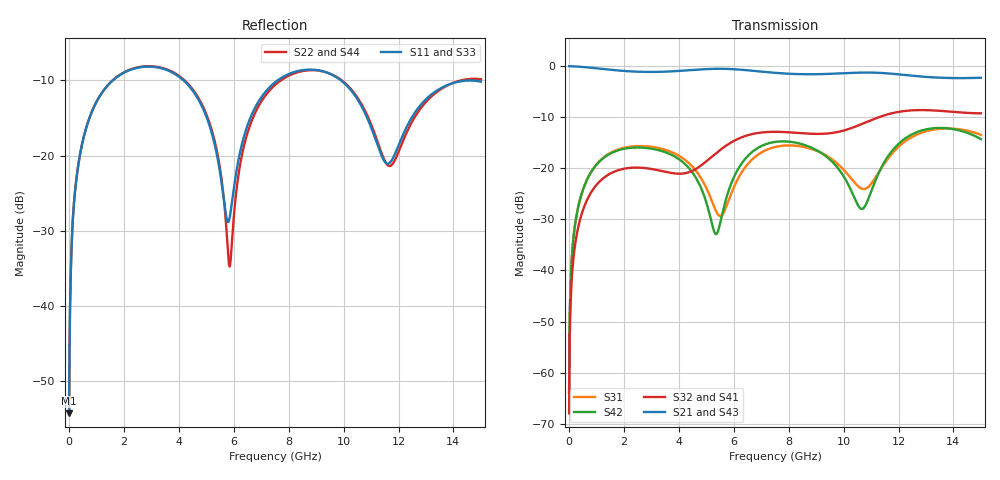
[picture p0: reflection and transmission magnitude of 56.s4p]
! Created with skrf 1.8.0 (http://scikit-rf.org).
# GHz S RI R 50.0
!freq ReS11 ImS11 ReS12 ImS12 ReS13 ImS13
! ReS14 ImS14
! ReS21 ImS21 ReS22 ImS22 ReS23 ImS23
! ReS24 ImS24
! ReS31 ImS31 ReS32 ImS32 ReS33 ImS33
! ReS34 ImS34
! ReS41 ImS41 ReS42 ImS42 ReS43 ImS43
! ReS44 ImS44
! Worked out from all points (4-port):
!   2499 points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, 5 MHz to 15 GHz, reference 50 ohm
!   strongest paths, dB at 5 MHz, 3.476 GHz, 7.19 GHz, 11.1 GHz, 15 GHz:
!     S21: 0.0, -1.1, -1.2, -1.3, -2.3
!     S43: 0.0, -1.1, -1.2, -1.3, -2.3
!     S32: -68.0, -20.6, -12.9, -10.4, -9.2
!     S41: -68.0, -20.7, -12.9, -10.4, -9.3
!     S42: -63.9, -16.8, -15.2, -23.2, -14.3
!     S31: -63.9, -16.3, -16.4, -22.3, -13.5
!   lowest |S11| = -54.3 dB at 5 MHz (marker M1), VSWR 1.00, Z = 50.2 + j0.117 ohm
!   |S11| at or under -10 dB: start of sweep to 1.6 GHz; 4.168 GHz to 7.601 GHz (3.433 GHz wide, 58.3 % of centre); 9.899 GHz to end of sweep
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0.005  0.00154 0.00117  0.9984 -0.003  7.79e-05 0.000631  -7.55e-05 -0.000392
       0.9984 -0.003  0.00154 0.00117  -7.55e-05 -0.000392  7.77e-05 0.000631
       7.79e-05 0.000631  -7.55e-05 -0.000392  0.00154 0.00117  0.9984 -0.003
       -7.55e-05 -0.000392  7.77e-05 0.000631  0.9984 -0.003  0.00154 0.00117
0.3126303  0.0216 0.0773  0.9704 -0.1872  0.0104 0.0377  -0.0084 -0.0233
           0.9704 -0.1872  0.0217 0.0773  -0.00841 -0.0233  0.00985 0.0378
           0.0104 0.0377  -0.00841 -0.0233  0.0216 0.0773  0.9704 -0.1872
           -0.0084 -0.0233  0.00985 0.0378  0.9704 -0.1872  0.0217 0.0773
1.519383  0.2434 0.1861  0.6019 -0.6965  0.1257 0.0662  -0.0878 -0.0149
          0.6019 -0.6965  0.2456 0.1849  -0.0879 -0.0148  0.1183 0.0749
          0.1257 0.0662  -0.0879 -0.0148  0.2433 0.1862  0.6019 -0.6965
          -0.0878 -0.0149  0.1183 0.0749  0.6019 -0.6965  0.2457 0.1848
5.66486  0.0375 -0.0282  -0.9284 -0.1496  -0.0311 0.0226  -0.0236 0.1608
         -0.9284 -0.1496  0.0207 -0.0413  -0.0214 0.1611  0.0259 0.0357
         -0.0311 0.0226  -0.0214 0.1611  0.0368 -0.0285  -0.9284 -0.1495
         -0.0236 0.1608  0.0259 0.0357  -0.9284 -0.1495  0.0216 -0.0413
9.097541  0.3649 -0.0481  0.0305 0.8334  0.1123 -0.0917  0.2067 -0.0596
          0.0305 0.8334  0.3647 -0.036  0.2069 -0.0654  0.1166 -0.0883
          0.1123 -0.0917  0.2069 -0.0654  0.3661 -0.0437  0.0309 0.8327
          0.2067 -0.0596  0.1166 -0.0883  0.0309 0.8327  0.367 -0.0411
11.7549  0.0921 0.0129  0.8377 0.0862  -0.00952 0.138  0.0306 -0.3445
         0.8377 0.0862  0.0866 0.00289  0.0208 -0.3445  0.011 0.1463
         -0.00952 0.138  0.0208 -0.3445  0.0977 0.00728  0.8376 0.0867
         0.0306 -0.3445  0.011 0.1463  0.8376 0.0867  0.0821 -0.00077
15  0.3048 -0.0548  0.0468 -0.7676  0.1669 -0.1316  -0.3394 0.048
    0.0468 -0.7676  0.3167 -0.0548  -0.3396 0.0611  0.1684 -0.0935
    0.1669 -0.1316  -0.3396 0.0611  0.2969 -0.054  0.0445 -0.7694
    -0.3394 0.048  0.1684 -0.0935  0.0445 -0.7694  0.3139 -0.0569
